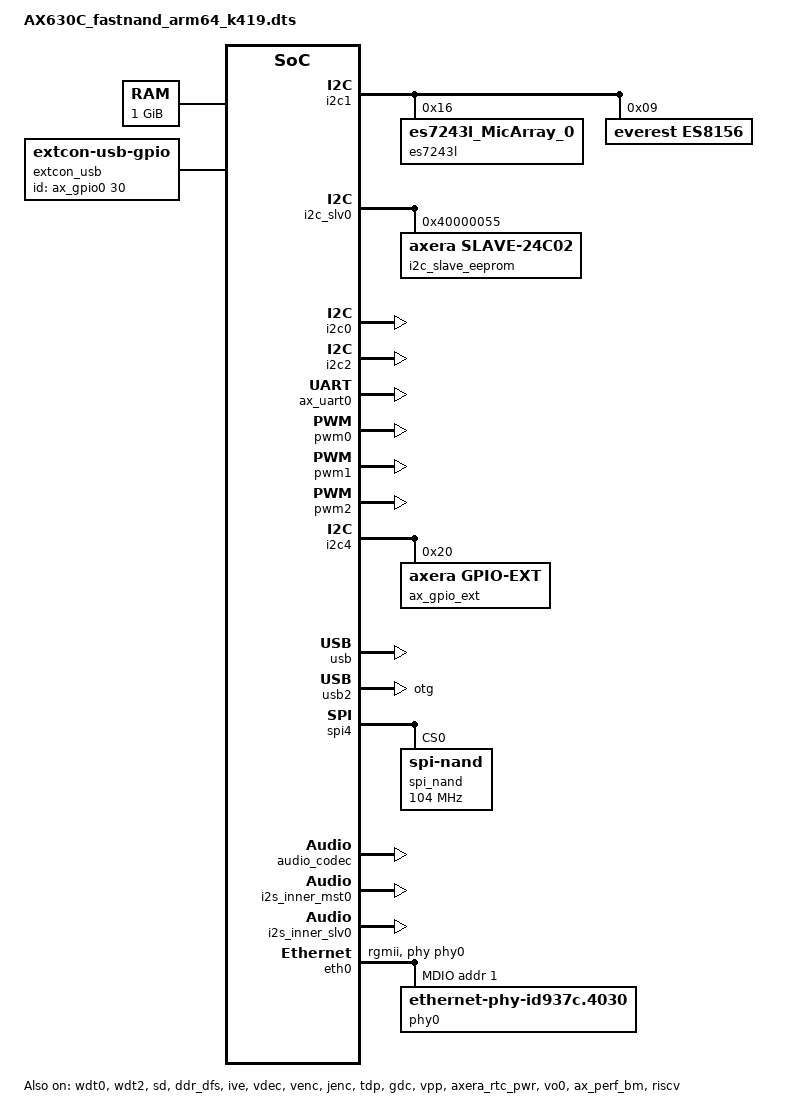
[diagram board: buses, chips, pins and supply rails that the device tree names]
// SPDX-License-Identifier: GPL-2.0
/**************************************************************************************************
 *
 * Copyright (c) 2019-2024 Axera Semiconductor Co., Ltd. All Rights Reserved.
 *
 * This dts file is the property of Axera Semiconductor Co., Ltd. and
 * may not be copied or distributed in any isomorphic form without the prior
 * written consent of Axera Semiconductor Co., Ltd.
 *
 **************************************************************************************************/

/dts-v1/;
#include "AX630C_fastnand_arm64_k419.dtsi"
/ {
	memory@40000000 {
		device_type = "memory";
		reg = <0x0 0x40000000 0x0 0x40000000>;
	};
	reserved-memory {
		#address-cells = <2>;
		#size-cells = <2>;
		ranges;
#ifdef SUPPORT_RISCV
		riscv_reserved: riscv_memreserved {
			reg = <RISCV_RESERVED_START_HI RISCV_RESERVED_START_LO RISCV_RESERVED_SIZE_HI RISCV_RESERVED_SIZE_LO>;
		};
#endif
#ifdef SUPPORT_RISCV_LOG_MEM
		riscv_log_reserved: riscv_log_memreserved {
			reg = <RISCV_LOG_MEM_RESERVED_START_HI RISCV_LOG_MEM_RESERVED_START_LO RISCV_LOG_MEM_RESERVED_SIZE_HI RISCV_LOG_MEM_RESERVED_SIZE_LO>;
			no-map;
		};
#endif
#ifdef SUPPORT_ISP_IMAGE
		isp_image_reserved: isp_image_memreserved {
			compatible = "axera, isp_image";
			reg = <ISP_IMAGE_RESERVED_START_HI ISP_IMAGE_RESERVED_START_LO ISP_IMAGE_RESERVED_SIZE_HI ISP_IMAGE_RESERVED_SIZE_LO>;
		};
#endif
		atf_reserved: atf_memreserved {
			reg = <ATF_RESERVED_START_HI ATF_RESERVED_START_LO ATF_RESERVED_SIZE_HI ATF_RESERVED_SIZE_LO>;
			no-map;
		};
#ifdef OPTEE_BOOT
		optee_reserved: optee_memserved {
			reg = <OPTEE_RESERVED_START_HI OPTEE_RESERVED_START_LO OPTEE_RESERVED_SIZE_HI OPTEE_RESERVED_SIZE_LO>;
			no-map;
		};
#endif
		axera_ddr_retrain@0 {
			compatible = "axera_ddr_retrain";
			reg = <0x0 0x40000000 0x0 0x1000>;
		};
#ifdef SUPPORT_RAMDISK
		ramdisk_mem@140000000 {
			compatible = "axera, ramdisk";
			reg = <0x0 RAMDISK_START_ADDR 0x0 RAMDISK_SIZE>;
			addr = <0x0 RAMDISK_START_ADDR>;
			size = <RAMDISK_SIZE>;
			no-map;
		};
#endif
#ifdef SUPPORT_MODEL_DATA
		model_data_reserved: model_data_memreserved {
			reg = <MODEL_DATA_RESERVED_START_HI MODEL_DATA_RESERVED_START_LO MODEL_DATA_RESERVED_SIZE_HI MODEL_DATA_RESERVED_SIZE_LO>;
		};
#endif

	};

	chosen {
		bootargs = BOOTARGS;
	};

	sound {
		status = "okay";
		compatible = "simple-audio-card";
		simple-audio-card,name = "Axera Audio";
		simple-audio-card,widgets =
			"Microphone", "Mic Jack";
		simple-audio-card,routing =
			"AMIC", "Mic Jack";
		#address-cells = <1>;
		#size-cells = <0>;
	/*	simple-audio-card,dai-link@0 {
			format = "i2s";
			cpu {
				sound-dai = <&i2s_mst0>;
			};
			codec {
				sound-dai = <&es7243l>;
				system-clock-frequency = <12288000>;
			};
		};
		simple-audio-card,dai-link@1 {
			format = "i2s";
			cpu {
				sound-dai = <&i2s_mst0>;
			};
			codec {
				sound-dai = <&es8156>;
				system-clock-frequency = <12288000>;
			};
		};
		simple-audio-card,dai-link@0 {
			format = "i2s";
			bitclock-master = <&codec_m2>;
			frame-master = <&codec_m2>;
			cpu {
				sound-dai = <&i2s_slv0>;
			};
			codec_m2: codec {
				sound-dai = <&es7243l>;
				system-clock-frequency = <12288000>;
			};
		};
		simple-audio-card,dai-link@1 {
			format = "i2s";
			bitclock-master = <&codec_m3>;
			frame-master = <&codec_m3>;
			cpu {
				sound-dai = <&i2s_slv0>;
			};
			codec_m3: codec {
				sound-dai = <&es8156>;
				system-clock-frequency = <12288000>;
			};
		};
		simple-audio-card,dai-link@0 {
			format = "dsp_b";
			cpu {
				sound-dai = <&i2s_tdm_mst0>;
				dai-tdm-slot-num = <2>;
				dai-tdm-slot-width = <32>;
				dai-tdm-slot-rx-mask = <1 1>;
			};
			codec {
				sound-dai = <&es7243l>;
				system-clock-frequency = <12288000>;
			};
		};
		simple-audio-card,dai-link@0 {
			format = "dsp_b";
			bitclock-master = <&codec_m5>;
			frame-master = <&codec_m5>;
			cpu {
				sound-dai = <&i2s_tdm_slv0>;
				dai-tdm-slot-num = <2>;
				dai-tdm-slot-width = <32>;
				dai-tdm-slot-rx-mask = <1 1>;
			};
			codec_m5: codec {
				sound-dai = <&es7243l>;
				system-clock-frequency = <12288000>;
			};
		};*/
		simple-audio-card,dai-link@0 {
			format = "i2s";
			bitclock-master = <&codec_m6>;
			frame-master = <&codec_m6>;
			capture-only;
			cpu {
				sound-dai = <&i2s_inner_slv0>;
			};
			codec_m6: codec {
				sound-dai = <&audio_codec>;
				system-clock-frequency = <12288000>;
			};
		};
		simple-audio-card,dai-link@1 {
			format = "i2s";
			playback-only;
			cpu {
				sound-dai = <&i2s_inner_mst0>;
			};
			codec {
				sound-dai = <&audio_codec>;
				system-clock-frequency = <12288000>;
			};
		};
	};

	axera_logctl {
		compatible = "axera,logctl";
		config = "/etc/ax_syslog.conf";
		logstate = /bits/ 8 <1 1>;
		loglevel = /bits/ 8 <4 4>;
	};

	extcon_usb: extcon_usb {
		compatible = "linux,extcon-usb-gpio";
		id-gpio = <&ax_gpio0 30 0>; /* GPIO0_A30 */
		status = "okay";
	};

};
&i2c1 {
	#address-cells = <0x1>;
	#size-cells = <0x0>;
	status = "okay";
	es7243l: es7243l@16 {
		compatible = "es7243l_MicArray_0";
		reg = <0x16>;
		#sound-dai-cells = <0>;
	};
	es8156: es8156@9 {
		compatible = "everest,es8156";
		reg = <0x9>;
		#sound-dai-cells = <0>;
	};
};

&i2c_slv0 {
	status = "okay";
	#address-cells = <0x1>;
	#size-cells = <0x0>;
	i2c_slave_eeprom: i2c_slave_eeprom@55 {
		compatible = "axera,slave-24c02";
		reg = <0x40000055>;
		status = "okay";
	};
};

&i2c0 {
	status = "okay";
};

&i2c2 {
	status = "okay";
};

&ax_uart0 {
	status = "okay";
};

&wdt0 {
	status = "okay";
};

&wdt2 {
	status = "okay";
};

&pwm0 {
	status = "okay";
};

&pwm1 {
	status = "okay";
};

&pwm2 {
	status = "okay";
};

&deb_gpio_lp {
	lp-status = <11 1>; /* use db_gpio11 as wakeup source */
	status = "okay";
};

&emmc{
	max-frequency = <200000000>;
	sdhci-caps-mask = <0x2 0x03200000>;
	bus-width = <8>;
	no-sdio;
	no-sd;
	non-removable;
	disable-wp;
	cap-mmc-hw-reset;
	/* AX630C use GPIO2_A23 */
	hw-reset = <&ax_gpio2 23 0>;
	/* AX620Q use GPIO1_A0 */
	/* hw-reset = <&ax_gpio1 0 0>; */
	cap-mmc-highspeed;
	mmc-hs200-1_8v;
	mmc-hs400-1_8v;
	mmc-hs400-enhanced-strobe;
	cdns,phy-input-delay-sd-highspeed = <2>;
	cdns,phy-input-delay-legacy = <4>;
	cdns,phy-input-delay-sd-uhs-sdr12 = <1>;
	cdns,phy-input-delay-sd-uhs-sdr25 = <2>;
	cdns,phy-input-delay-sd-uhs-sdr50 = <1>;
	cdns,phy-input-delay-sd-uhs-ddr50 = <2>;
	cdns,phy-input-delay-mmc-legacy = <1>;
	cdns,phy-input-delay-mmc-highspeed = <2>;
	cdns,phy-input-delay-mmc-ddr = <2>;
	cdns,phy-dll-delay-sdclk = <45>;
	cdns,phy-dll-delay-sdclk-hsmmc = <23>;
	cdns,phy-dll-delay-strobe = <18>;
	fixed-emmc-driver-type = <4>;
	status = "disabled";
};

&sd{
	sdhci-caps-mask = <0x7 0x00200000>;
	bus-width = <4>;
	max-frequency = <200000000>;
	cap-sd-highspeed;
	no-sdio;
	no-mmc;
	disable-wp;
#if 1
	broken-cd;
#else
	cd-gpios = <&ax_gpio1 11 0>;
	cd-inverted;
	cd-debounce-delay-ms = <300>;
#endif

	cdns,phy-input-delay-sd-highspeed = <2>;
	cdns,phy-input-delay-legacy = <3>;
	cdns,phy-input-delay-sd-uhs-sdr12 = <3>;
	cdns,phy-input-delay-sd-uhs-sdr25 = <2>;
	cdns,phy-input-delay-sd-uhs-sdr50 = <1>;
	cdns,phy-input-delay-sd-uhs-ddr50 = <1>;
	cdns,phy-dll-delay-sdclk = <0>;

	status = "okay";
};

&sdio{
	sdhci-caps-mask = <0x7 0x00200000>;
	bus-width = <4>;
	max-frequency = <200000000>;
	cap-sd-highspeed;
	sd-uhs-sdr25;
	sd-uhs-sdr12;
	sd-uhs-sdr50;
	sd-uhs-ddr50;
	//sd-uhs-sdr104;
	no-sd;
	no-mmc;
	disable-wp;
	vol-sw-gpio = <&ax_gpio0 17 0>;

	cdns,phy-input-delay-sd-highspeed = <2>;
	cdns,phy-input-delay-legacy = <3>;
	cdns,phy-input-delay-sd-uhs-sdr12 = <3>;
	cdns,phy-input-delay-sd-uhs-sdr25 = <2>;
	cdns,phy-input-delay-sd-uhs-sdr50 = <0>;
	cdns,phy-input-delay-sd-uhs-ddr50 = <0>;
	cdns,phy-dll-delay-sdclk = <0>;

	status = "disabled";
};

&i2c4 {
	#address-cells = <0x1>;
	#size-cells = <0x0>;
	status = "okay";
	ax_gpio_ext: gpio-axera@20 {
		compatible = "axera,gpio-ext";
		reg = <0x20>;
		gpio-controller;
		#gpio-cells = <2>;
		nr-gpios = <16>;
		status = "okay";
	};
	typec: sgm7220@47 {
		compatible = "axera,sgm7220";
		reg = <0x47>;
		int-gpio = <&ax_gpio1 9 0>;
		chanel-sel = <&ax_gpio0 30 0>;
		bind-usb = "8000000.dwc3";
		status = "disabled";
	};
};

&usb {
	status = "okay";
};

&usb2 {
	dr_mode = "otg";
	extcon = <&extcon_usb>;
};

&spi0 {
       status = "disabled";
       spidev_user@0 {
               status = "okay";
               compatible = "axera,spidev";
               reg = <0>;
               spi-max-frequency = <26000000>;
       };
};

/* spi slv test driver */
&spi_slv {
	status = "disabled";
	stream-gpio = <&ax_gpio1 4 0>;
	slave {
		compatible = "spi-slave";
		reg = <0>;
		spi-max-frequency = <25000000>;
	};
};

&spi4 {
	status = "okay";
	spi_nand@0 {
		compatible = "spi-nand";
		reg = <0>;
		rx-sample-delay-ns = <6>;
		spi-max-frequency = <104000000>;
		spi-tx-bus-width = <4>;
		spi-rx-bus-width = <4>;
	};
};

&audio_codec {
	gpio-mic-rp = <&ax_gpio1 7 0>; /* GPIO1_A7 */
	gpio-mic-rn = <&ax_gpio1 6 0>; /* GPIO1_A6 */
	gpio-mic-ln = <&ax_gpio1 5 0>; /* GPIO1_A5 */
	gpio-mic-lp = <&ax_gpio1 4 0>; /* GPIO1_A4 */
	gpio-pa-speaker = <&ax_gpio_ext 2 0>;
	gpio-pa-lineout = <&ax_gpio_ext 15 0>;
	status = "okay";
};
&i2s_inner_mst0 {
	status = "okay";
	/*i2s - pad0*/
	i2s-m-aec-cycle-sel = <0>;    /*23-22*/
	i2s-m-aec-sclk-sel = <0>;     /*21*/
	i2s-inner-codec-en = <1>;     /*20*/
	i2s-exter-codec-en = <0>;     /*19*/
	i2s-m-exter-codec-en = <0>;   /*18*/
	i2s-exter-codec-mst = <0>;    /*17*/
	i2s-m-exter-codec-mst = <0>;  /*16*/
	iis-out-tdm-en = <0>;         /*15*/
	iis-m-out-tdm-en = <0>;       /*14*/
	i2s-m-rx0-sel = <0>;          /*13*/
	i2s-m-rx1-sel = <0>;          /*12-11*/
	i2s-s-rx0-sel = <0>;          /*10-9*/
	i2s-s-rx1-sel = <2>;          /*8-7*/
	i2s-s-sclk-sel = <0>;         /*6-5*/
	tdm-m-rx-sel = <0>;           /*4-3*/
	tdm-s-rx-sel = <0>;           /*2-1*/
	tdm-s-sclk-sel = <0>;         /*0*/
};

&i2s_inner_slv0 {
	status = "okay";
	/*i2s - pad0*/
	i2s-m-aec-cycle-sel = <0>;    /*23-22*/
	i2s-m-aec-sclk-sel = <0>;     /*21*/
	i2s-inner-codec-en = <1>;     /*20*/
	i2s-exter-codec-en = <0>;     /*19*/
	i2s-m-exter-codec-en = <0>;   /*18*/
	i2s-exter-codec-mst = <0>;    /*17*/
	i2s-m-exter-codec-mst = <0>;  /*16*/
	iis-out-tdm-en = <0>;         /*15*/
	iis-m-out-tdm-en = <0>;       /*14*/
	i2s-m-rx0-sel = <0>;          /*13*/
	i2s-m-rx1-sel = <0>;          /*12-11*/
	i2s-s-rx0-sel = <0>;          /*10-9*/
	i2s-s-rx1-sel = <2>;          /*8-7*/
	i2s-s-sclk-sel = <0>;         /*6-5*/
	tdm-m-rx-sel = <0>;           /*4-3*/
	tdm-s-rx-sel = <0>;           /*2-1*/
	tdm-s-sclk-sel = <0>;         /*0*/
};

&i2s_mst0 {
	status = "disabled";
	/*i2s - pad0*/
	i2s-m-aec-cycle-sel = <0>;    /*23-22*/
	i2s-m-aec-sclk-sel = <0>;     /*21*/
	i2s-inner-codec-en = <0>;     /*20*/
	i2s-exter-codec-en = <1>;     /*19*/
	i2s-m-exter-codec-en = <0>;   /*18*/
	i2s-exter-codec-mst = <1>;    /*17*/
	i2s-m-exter-codec-mst = <0>;  /*16*/
	iis-out-tdm-en = <0>;         /*15*/
	iis-m-out-tdm-en = <0>;       /*14*/
	i2s-m-rx0-sel = <0>;          /*13*/
	i2s-m-rx1-sel = <2>;          /*12-11*/
	i2s-s-rx0-sel = <0>;          /*10-9*/
	i2s-s-rx1-sel = <0>;          /*8-7*/
	i2s-s-sclk-sel = <0>;         /*6-5*/
	tdm-m-rx-sel = <0>;           /*4-3*/
	tdm-s-rx-sel = <0>;           /*2-1*/
	tdm-s-sclk-sel = <0>;         /*0*/
};

&i2s_slv0 {
	status = "disabled";
	/*i2s - pad0*/
	i2s-m-aec-cycle-sel = <0>;    /*23-22*/
	i2s-m-aec-sclk-sel = <0>;     /*21*/
	i2s-inner-codec-en = <0>;     /*20*/
	i2s-exter-codec-en = <1>;     /*19*/
	i2s-m-exter-codec-en = <0>;   /*18*/
	i2s-exter-codec-mst = <0>;    /*17*/
	i2s-m-exter-codec-mst = <0>;  /*16*/
	iis-out-tdm-en = <0>;         /*15*/
	iis-m-out-tdm-en = <0>;       /*14*/
	i2s-m-rx0-sel = <0>;          /*13*/
	i2s-m-rx1-sel = <0>;          /*12-11*/
	i2s-s-rx0-sel = <1>;          /*10-9*/
	i2s-s-rx1-sel = <3>;          /*8-7*/
	i2s-s-sclk-sel = <1>;         /*6-5*/
	tdm-m-rx-sel = <0>;           /*4-3*/
	tdm-s-rx-sel = <0>;           /*2-1*/
	tdm-s-sclk-sel = <0>;         /*0*/
};

&i2s_tdm_mst0 {
	status = "disabled";
	/*i2s - pad0*/
	i2s-m-aec-cycle-sel = <0>;    /*23-22*/
	i2s-m-aec-sclk-sel = <0>;     /*21*/
	i2s-inner-codec-en = <0>;     /*20*/
	i2s-exter-codec-en = <1>;     /*19*/
	i2s-m-exter-codec-en = <0>;   /*18*/
	i2s-exter-codec-mst = <1>;    /*17*/
	i2s-m-exter-codec-mst = <0>;  /*16*/
	iis-out-tdm-en = <1>;         /*15*/
	iis-m-out-tdm-en = <0>;       /*14*/
	i2s-m-rx0-sel = <0>;          /*13*/
	i2s-m-rx1-sel = <0>;          /*12-11*/
	i2s-s-rx0-sel = <0>;          /*10-9*/
	i2s-s-rx1-sel = <0>;          /*8-7*/
	i2s-s-sclk-sel = <0>;         /*6-5*/
	tdm-m-rx-sel = <0>;           /*4-3*/
	tdm-s-rx-sel = <0>;           /*2-1*/
	tdm-s-sclk-sel = <0>;         /*0*/
};

&i2s_tdm_slv0 {
	status = "disabled";
	/*i2s - pad0*/
	i2s-m-aec-cycle-sel = <0>;    /*23-22*/
	i2s-m-aec-sclk-sel = <0>;     /*21*/
	i2s-inner-codec-en = <0>;     /*20*/
	i2s-exter-codec-en = <1>;     /*19*/
	i2s-m-exter-codec-en = <0>;   /*18*/
	i2s-exter-codec-mst = <0>;    /*17*/
	i2s-m-exter-codec-mst = <0>;  /*16*/
	iis-out-tdm-en = <0>;         /*15*/
	iis-m-out-tdm-en = <0>;       /*14*/
	i2s-m-rx0-sel = <0>;          /*13*/
	i2s-m-rx1-sel = <0>;          /*12-11*/
	i2s-s-rx0-sel = <0>;          /*10-9*/
	i2s-s-rx1-sel = <0>;          /*8-7*/
	i2s-s-sclk-sel = <0>;         /*6-5*/
	tdm-m-rx-sel = <0>;           /*4-3*/
	tdm-s-rx-sel = <0>;           /*2-1*/
	tdm-s-sclk-sel = <0>;         /*0*/
};

#if 1
&eth0 {
	status = "okay";

	phy-handle = <&phy0>;
	phy-mode = "rgmii";
	phy-rst-gpio = <&ax_gpio1 27 0>; /* GPIO1_A27 */

	mdio {
		#address-cells = <1>;
		#size-cells = <0>;
		compatible = "snps,dwmac-mdio";
		phy0: jl2xxx-phy@1 {
			compatible = "ethernet-phy-id937c.4030";
			jl2xxx,led-enable = <JL2XXX_LED_CTRL_EN>;
			jl2xxx,led-mode = <JL2XXX_CFG_LED_MODE>;
			jl2xxx,led-period = <JL2XXX_GLOBAL_PERIOD_MS>;
			jl2xxx,led-on = <JL2XXX_GLOBAL_ON_MS>;
			jl2xxx,led-polarity = <JL2XXX_LED_POLARITY>;
			jl2xxx,patch-enable = <JL2XXX_PATCH_CTRL_EN>;
			jl2xxx,rgmii-enable = <JL2XXX_RGMII_CTRL_EN>;
			jl2xxx,rgmii-tx-delay = <JL2XXX_RGMII_TX_DLY_2NS>;
			jl2xxx,rgmii-rx-delay = <JL2XXX_RGMII_RX_DLY_2NS>;
			jl2xxx,clk-enable = <JL2XXX_CLK_CTRL_EN>;
			jl2xxx,fld-enable = <JL2XXX_FLD_CTRL_EN>;
			jl2xxx,fld-delay = <JL2XXX_FLD_DELAY>;
			jl2xxx,wol-enable = <JL2XXX_WOL_CTRL_EN>;
			jl2xxx,interrupt-enable = <JL2XXX_INTR_CTRL_EN>;
			jl2xxx,downshift-enable = <JL2XXX_DSFT_CTRL_EN>;
			jl2xxx,downshift-count = <JL2XXX_DSFT_AN_CNT>;
			jl2xxx,work_mode-enable = <JL2XXX_WORK_MODE_CTRL_EN>;
			jl2xxx,work_mode-mode = <JL2XXX_WOEK_MODE_MODE>;
			jl2xxx,lpbk-enable = <JL2XXX_LPBK_CTRL_EN>;
			jl2xxx,lpbk-mode = <JL2XXX_LPBK_MODE>;
			jl2xxx,slew_rate-enable = <JL2XXX_SLEW_RATE_CTRL_EN>;
			jl2xxx,rxc_out-enable = <JL2XXX_RXC_OUT_CTRL_EN>;
			reg = <1>;
		};
	};
};
#else
&eth0 {
	status = "okay";

	phy-handle = <&phy0>;
	phy-mode = "rmii";
	axera-ephy,led0-mode = <EPHY_LED_SPEED>;
	axera-ephy,led0-enable;
	axera-ephy,led1-mode = <EPHY_LED_LINK>;
	axera-ephy,led1-enable;
	axera-ephy,led-polarity = <EPHY_LED_LOW_ACTIVE>;
	mdio {
		#address-cells = <1>;
		#size-cells = <0>;
		compatible = "snps,dwmac-mdio";
		phy0: axera-ephy@1 {
			device_tpye = "ethernet-phy";
			compatible = "ethernet-phy-id0044.1400";
			reg = <1>;
		};
	};
};
#endif

&ddr_dfs {
       status = "okay";
};

&ive {
	status = "okay";
};

&vdec {
	status = "okay";
};

&venc {
	status = "okay";
	max-venc-chn-num = <16>;/* range:[1,AX_MAX_VENC_CHN_NUM]*/
};

&jenc {
	status = "okay";
};

&tdp {
	status = "okay";
};

&gdc {
	status = "okay";
};

&vpp {
	status = "okay";
};

&axera_rtc_pwr {
        status = "okay";
};

&vo0 {
	status = "okay";
};

&dma {
	status = "okay";
};

&dma_per {
	status = "okay";
};

&cmm {
	cmmpool = CMM_ARGS;
};

&dmac {
	status = "okay";
};

&ax_perf_bm {
	status = "okay";
};

#ifdef SUPPORT_RISCV
&riscv {
	status = "okay";
};
#endif
